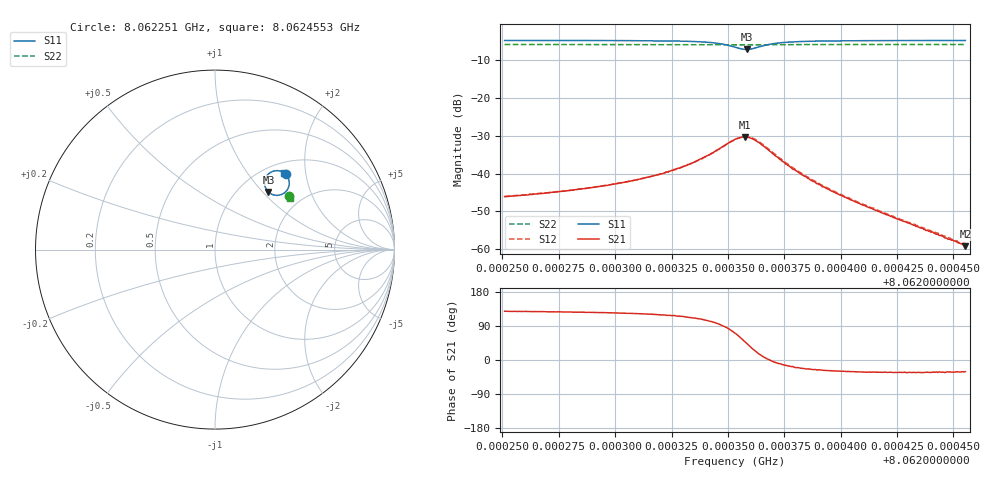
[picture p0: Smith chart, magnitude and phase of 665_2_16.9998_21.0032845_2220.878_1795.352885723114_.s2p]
#  HZ  S  RI  R  50.00
! Rohde & Schwarz Vector Network Analyzer
! Rohde-Schwarz,ZNB20-2Port,1311601062101988,3.16
! Created: UTC 3/20/2024, 11:21:55 PM
! freq[Hz]  re:S11  im:S11  re:S21  im:S21  re:S12  im:S12  re:S22  im:S22
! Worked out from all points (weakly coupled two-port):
!   401 points, 8.062251 GHz to 8.0624553 GHz, reference 50 ohm
!   highest |S21| = -30.33 dB at 8.0623577 GHz (marker M1); lowest = -59.2 dB at 8.0624553 GHz (marker M2)
!   lowest |S11| = -7.2 dB at 8.0623583 GHz (marker M3), VSWR 2.56, Z = 67.8 + j53.8 ohm
!   |S11| at or under -10 dB: nowhere
!   |S22| runs from -6.0 to -5.9 dB; largest |S21 - S12| = 0.0012
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8.062251e9  0.3948 0.419  -0.00309 0.00386  -0.00284 0.00408  0.4126 0.2976
8.0622699e9  0.3977 0.4158  -0.00334 0.00442  -0.00314 0.00462  0.4133 0.2965
8.06228522e9  0.4004 0.4123  -0.00369 0.00504  -0.00339 0.00531  0.4139 0.2955
8.06230463e9  0.4048 0.4053  -0.00425 0.00645  -0.00386 0.00668  0.4147 0.2944
8.06231944e9  0.4093 0.3958  -0.00475 0.00848  -0.00429 0.0087  0.4153 0.2932
8.06232761e9  0.412 0.3867  -0.005 0.0105  -0.00455 0.0106  0.4155 0.2922
8.06233527e9  0.4139 0.3729  -0.00505 0.0134  -0.00421 0.0136  0.4155 0.2913
8.06234242e9  0.4108 0.3511  -0.00372 0.0179  -0.00277 0.0179  0.4154 0.2902
8.06234651e9  0.4024 0.3328  -0.00128 0.0215  -0.000453 0.0213  0.4149 0.2891
8.06235315e9  0.3576 0.3034  0.0092 0.0268  0.00967 0.0261  0.4129 0.2882
8.06235519e9  0.3337 0.3032  0.0144 0.0261  0.0148 0.0257  0.4122 0.2883
8.06235775e9  0.3029 0.3166  0.0207 0.0223  0.0211 0.0222  0.411 0.289
8.06235826e9  0.2976 0.321  0.0217 0.0211  0.0222 0.0212  0.4108 0.2893
8.06236081e9  0.2797 0.3493  0.0249 0.0145  0.0256 0.0146  0.4102 0.2905
8.06236285e9  0.2761 0.3736  0.025 0.00915  0.0259 0.00915  0.4104 0.2916
8.06236949e9  0.2995 0.4229  0.0188 -0.00089  0.0193 -0.00165  0.4124 0.2932
8.06237766e9  0.3306 0.4384  0.0117 -0.00346  0.0118 -0.00425  0.4142 0.2931
8.06238737e9  0.3511 0.4396  0.00727 -0.00336  0.00727 -0.00393  0.4155 0.2925
8.06240065e9  0.3656 0.4367  0.00438 -0.00251  0.00435 -0.00286  0.4164 0.2914
8.06242159e9  0.3766 0.4323  0.00235 -0.00149  0.00226 -0.00163  0.4177 0.2903
8.0624507e9  0.3844 0.4277  0.00109 -0.000677  0.00107 -0.000761  0.4189 0.2884
8.0624553e9  0.3853 0.4272  0.000939 -0.000559  0.000926 -0.000628  0.4189 0.2882
